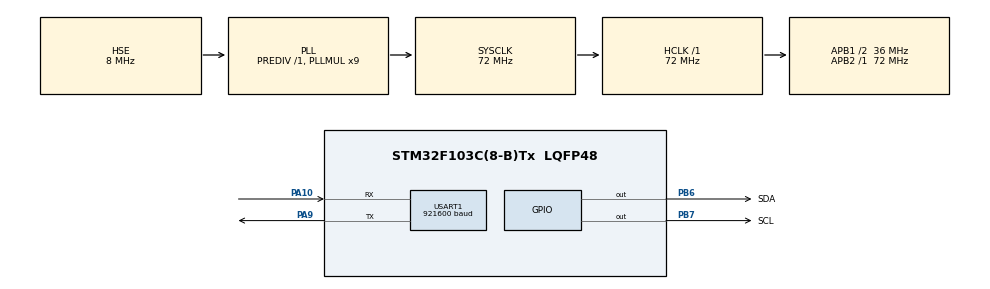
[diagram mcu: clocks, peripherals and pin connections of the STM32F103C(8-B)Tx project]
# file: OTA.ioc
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Dma.Request0=USART1_RX
Dma.USART1_RX.0.Direction=DMA_PERIPH_TO_MEMORY
Dma.USART1_RX.0.Instance=DMA1_Channel5
Dma.USART1_RX.0.MemDataAlignment=DMA_MDATAALIGN_BYTE
Dma.USART1_RX.0.MemInc=DMA_MINC_ENABLE
Dma.USART1_RX.0.Mode=DMA_NORMAL
Dma.USART1_RX.0.PeriphDataAlignment=DMA_PDATAALIGN_BYTE
Dma.USART1_RX.0.PeriphInc=DMA_PINC_DISABLE
Dma.USART1_RX.0.Priority=DMA_PRIORITY_HIGH
Mcu.Family=STM32F1
Mcu.Name=STM32F103C(8-B)Tx
Mcu.Package=LQFP48
NVIC.DMA1_Channel5_IRQn=true\:0\:0\:false\:false\:true\:false\:true\:true
NVIC.PriorityGroup=NVIC_PRIORITYGROUP_2
NVIC.USART1_IRQn=true\:0\:0\:false\:false\:true\:true\:true\:true
PA10.Mode=Asynchronous
PA10.Signal=USART1_RX
PA13.Mode=Serial_Wire
PA13.Signal=SYS_JTMS-SWDIO
PA14.Mode=Serial_Wire
PA14.Signal=SYS_JTCK-SWCLK
PA9.Mode=Asynchronous
PA9.Signal=USART1_TX
PB6.GPIO_Label=SDA
PB6.GPIO_ModeDefaultOutputPP=GPIO_MODE_OUTPUT_OD
PB6.GPIO_PuPd=GPIO_NOPULL
PB6.PinState=GPIO_PIN_SET
PB6.Signal=GPIO_Output
PB7.GPIO_Label=SCL
PB7.GPIO_ModeDefaultOutputPP=GPIO_MODE_OUTPUT_OD
PB7.GPIO_PuPd=GPIO_NOPULL
PB7.PinState=GPIO_PIN_SET
PB7.Signal=GPIO_Output
PD0-OSC_IN.Mode=HSE-External-Oscillator
PD0-OSC_IN.Signal=RCC_OSC_IN
PD1-OSC_OUT.Mode=HSE-External-Oscillator
PD1-OSC_OUT.Signal=RCC_OSC_OUT
ProjectManager.HeapSize=0x200
ProjectManager.StackSize=0x400
ProjectManager.TargetToolchain=CMake
RCC.AHBFreq_Value=72000000
RCC.APB1CLKDivider=RCC_HCLK_DIV2
RCC.APB1Freq_Value=36000000
RCC.APB1TimFreq_Value=72000000
RCC.APB2Freq_Value=72000000
RCC.APB2TimFreq_Value=72000000
RCC.HCLKFreq_Value=72000000
RCC.PLLMUL=RCC_PLL_MUL9
RCC.PLLSourceVirtual=RCC_PLLSOURCE_HSE
RCC.SYSCLKFreq_VALUE=72000000
RCC.SYSCLKSource=RCC_SYSCLKSOURCE_PLLCLK
RCC.USBFreq_Value=72000000
TIM2.Prescaler=71
USART1.BaudRate=921600
USART1.VirtualMode=VM_ASYNC
VP_TIM2_VS_ClockSourceINT.Mode=Internal
board=custom

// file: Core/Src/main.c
/* USER CODE BEGIN Header */
/**
  ******************************************************************************
  * @file           : main.c
  * @brief          : Main program body
  ******************************************************************************
  * @attention
  *
  * Copyright (c) 2026 STMicroelectronics.
  * All rights reserved.
  *
  * This software is licensed under terms that can be found in the LICENSE file
  * in the root directory of this software component.
  * If no LICENSE file comes with this software, it is provided AS-IS.
  *
  ******************************************************************************
  */
/* USER CODE END Header */
#include "main.h"
#include "dma.h"
#include "tim.h"
#include "usart.h"
#include "gpio.h"

/* USER CODE BEGIN Includes */
#include "delay_us.h"
#include "M24C02.h"
#include "MyI2C.h"
#include <string.h>    /* memset：启动时清空串口接收缓冲区 */
/* USER CODE END Includes */

/* USER CODE BEGIN PD */
uint8_t rbuff[256];
uint8_t wbuff[16] = {0, 1, 2, 3, 4, 5, 6, 7, 8, 9, 10, 11, 12, 13, 14, 15};
/* USER CODE END PD */

void SystemClock_Config(void);

int main(void)
{

  /* MCU Configuration--------------------------------------------------------*/

  /* Reset of all peripherals, Initializes the Flash interface and the Systick. */
  HAL_Init();

  /* USER CODE BEGIN Init */
  __enable_irq();      /* BootLoader 跳转前关了全局中断（PRIMASK=1），这里负责重新打开： */
                       /* 不打开的话 SysTick 不响应，HAL_Delay 会永久卡死，串口 DMA+IDLE 也收不到数据 */
  /* USER CODE END Init */

  /* Configure the system clock */
  SystemClock_Config();

  /* Initialize all configured peripherals */
  MX_GPIO_Init();
  MX_DMA_Init();
  MX_USART1_UART_Init();
  MX_TIM2_Init();
  /* USER CODE BEGIN 2 */
  /* 跳转过来时，U1_RxBuff 里可能残留 BootLoader 收到的旧字节，串口线上也可能有毛刺。
     不清的话，一个毛刺就会触发 IDLE 中断，把残留数据当成"收到一包"打印出来
     （实测现象：上电后多出一行 "本次接收了1字节数据" 和一个旧字符）。 */
  memset(U1_RxBuff, 0, U1_RX_SIZE);      /* 接收缓冲区清零 */
  U1Rx_PtrInit();                        /* 队列入/出指针复位 */
  __HAL_UART_CLEAR_OREFLAG(&huart1);     /* 清溢出错误标志，避免旧状态干扰 */

  HAL_TIM_Base_Start(&htim2);
  uint16_t i;

  /* 首帧对齐：从 BootLoader 跳转过来后，串口线会空闲一段，
     USB 转串口（CH340）会把这之后第一帧开头的几个字节吞掉（实测丢 "Hel"）。
     先发 4 个 '\r\n' 当"牺牲字节"，正文就不会被截断（只表现为多几个空行）。 */
  {
    uint8_t sync_bytes[4] = {'\r', '\n', '\r', '\n'};
    HAL_UART_Transmit(&huart1, sync_bytes, sizeof(sync_bytes), 20);
  }

  u1_printf("Hello World\r\n");

  // for (i = 0; i < 256; i ++)
  // {
  //   M24C02_WriteByte(i, i);
  //   delay_us(5);
  // }

  // ===== 原本的程序：整片EEPROM写测试 + 全片打印（做页大小测试期间先注释掉，测完取消注释即可恢复）=====
  // 地址0~15是Bootloader的OTA标志区，A区App不能写它，
  // 测试数据从地址16开始写
  // for (i = 1; i < 16; i ++)
  // {
  //   M24C02_WritePage(i*16, wbuff);
  //   delay_us(5);
  // }
  // M24C02_ReadData(0, rbuff, 256);
  //
  // for (i = 0; i < 256; i ++)
  // {
  //   u1_printf("地址%d = %x\r\n", i, rbuff[i]);
  // }
  // ===== 原本的程序结束 =====

  // ===== 新加：EEPROM 页大小测试（M24C02=8字节/页，M24C02=16字节/页）=====
  // ① 地址16~47 逐字节写 0xFF（做干净底；逐字节写不受页大小影响）
  // ② 从地址16（8和16都页对齐）用一次页写连发16个互不相同的字节 0x10~0x1F
  // ③ 读回，只打印地址16~47
  // 判读：
  //   地址16~23 = 18..1F 且 地址24~31 = FF  → 页=8，超出部分【回绕覆盖】本页开头（M24C02）
  //   地址16~31 = 10..1F                    → 页=16（M24C02）
  //   地址16~23 = 10..17 且 地址24~31 = FF  → 页=8，超出部分被【丢弃】
  // ★ 全程只碰地址16以后，不动地址0~15（OTA标志区）
#if 0   /* 页大小测试已完成（M24C02 = 16 字节/页），保留代码便于以后复测。
           注意：这段会写 EEPROM 0x10~0x2F，与 Firelen[3..11] 重叠，默认不执行。 */
  for (i = 0; i < 32; i ++)              // ① 干净底：地址16~47 = 0xFF
  {
    M24C02_WriteByte(16 + i, 0xFF);     // WriteByte 内部自带 5ms 等待
  }

  uint8_t test_w[16];
  for (i = 0; i < 16; i ++)              // ② 待测数据：10 11 ... 1F
  {
    test_w[i] = 0x10 + i;
  }
  M24C02_WritePage(16, test_w);         // 一次连续写16字节

  M24C02_ReadData(0, rbuff, 256);       // ③ 整片读回

  for (i = 16; i < 48; i ++)             // 只打印 16~47，32行看完
  {
    u1_printf("地址%d = %x\r\n", i, rbuff[i]);
  }
#endif
  // ===== 新加代码结束 =====
  /* USER CODE END 2 */

  /* Infinite loop */
  /* USER CODE BEGIN WHILE */
  while (1)
  {
    if(U1CB.URxDataOUT != U1CB.URxDataIN)
    {
      u1_printf("本次接收了%d字节数据\r\n",U1CB.URxDataOUT->end - U1CB.URxDataOUT->start + 1);
      for(i=0;i<U1CB.URxDataOUT->end - U1CB.URxDataOUT->start + 1;i++) u1_printf("%c",U1CB.URxDataOUT->start[i]);
      u1_printf("\r\n\r\n");

      U1CB.URxDataOUT++;
      if(U1CB.URxDataOUT == U1CB.URxDataEND)
      {
        U1CB.URxDataOUT = &U1CB.URxDataPtr[0];
      }
    }
    /* USER CODE END WHILE */

  }
}

void SystemClock_Config(void)
{
  RCC_OscInitTypeDef RCC_OscInitStruct = {0};
  RCC_ClkInitTypeDef RCC_ClkInitStruct = {0};

  /** Initializes the RCC Oscillators according to the specified parameters
  * in the RCC_OscInitTypeDef structure.
  */
  RCC_OscInitStruct.OscillatorType = RCC_OSCILLATORTYPE_HSE;
  RCC_OscInitStruct.HSEState = RCC_HSE_ON;
  RCC_OscInitStruct.HSEPredivValue = RCC_HSE_PREDIV_DIV1;
  RCC_OscInitStruct.HSIState = RCC_HSI_ON;
  RCC_OscInitStruct.PLL.PLLState = RCC_PLL_ON;
  RCC_OscInitStruct.PLL.PLLSource = RCC_PLLSOURCE_HSE;
  RCC_OscInitStruct.PLL.PLLMUL = RCC_PLL_MUL9;
  if (HAL_RCC_OscConfig(&RCC_OscInitStruct) != HAL_OK)
  {
    Error_Handler();
  }

  /** Initializes the CPU, AHB and APB buses clocks
  */
  RCC_ClkInitStruct.ClockType = RCC_CLOCKTYPE_HCLK|RCC_CLOCKTYPE_SYSCLK
                              |RCC_CLOCKTYPE_PCLK1|RCC_CLOCKTYPE_PCLK2;
  RCC_ClkInitStruct.SYSCLKSource = RCC_SYSCLKSOURCE_PLLCLK;
  RCC_ClkInitStruct.AHBCLKDivider = RCC_SYSCLK_DIV1;
  RCC_ClkInitStruct.APB1CLKDivider = RCC_HCLK_DIV2;
  RCC_ClkInitStruct.APB2CLKDivider = RCC_HCLK_DIV1;

  if (HAL_RCC_ClockConfig(&RCC_ClkInitStruct, FLASH_LATENCY_2) != HAL_OK)
  {
    Error_Handler();
  }
}

void Error_Handler(void)
{
  __disable_irq();
  while (1)
  {
  }
}
